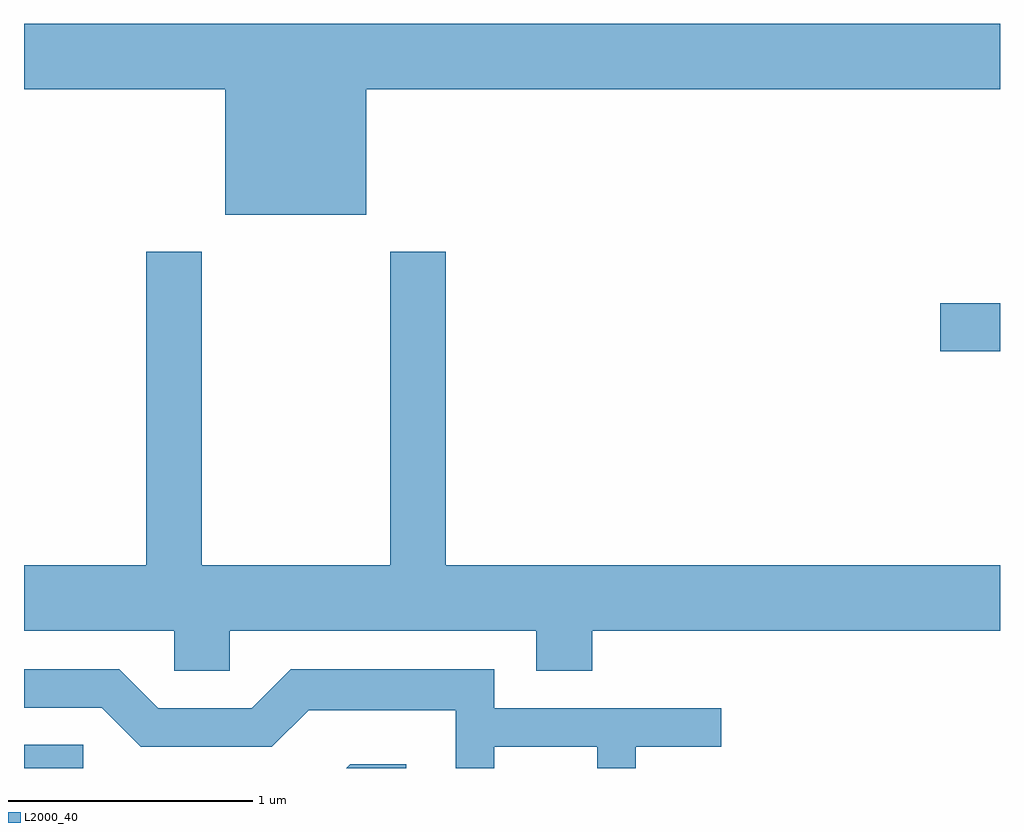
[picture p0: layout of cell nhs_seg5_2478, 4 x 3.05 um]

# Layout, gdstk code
import gdstk
lib = gdstk.Library(unit=1e-6, precision=1e-09)
def R(c, l, rs):  # rectangles x0, y0, x1, y1
    for r in rs: c.add(gdstk.rectangle(r[:2], r[2:], *l))
def P(c, l, *ps):  # polygons
    for p in ps: c.add(gdstk.Polygon(p, *l))
L2000_40 = (2000, 40)

nhs_seg5_2478 = lib.new_cell('nhs_seg5_2478')
R(nhs_seg5_2478, L2000_40, [(259.611,1394.072,259.853,1394.169), (263.366,1395.781,263.611,1395.979)])
P(nhs_seg5_2478, L2000_40, [(261.014,1396.856),(263.611,1396.856),(263.611,1397.124),(259.611,1397.124),(259.611,1396.856),(260.436,1396.856),(260.436,1396.341),(261.014,1396.341)],
  [(260.454,1394.636),(261.711,1394.636),(261.711,1394.471),(261.939,1394.471),(261.939,1394.636),(263.611,1394.636),(263.611,1394.904),(261.339,1394.904),(261.339,1396.189),(261.111,1396.189),(261.111,1394.904),(260.339,1394.904),(260.339,1396.189),(260.111,1396.189),(260.111,1394.904),(259.611,1394.904),(259.611,1394.636),(260.226,1394.636),(260.226,1394.471),(260.454,1394.471)],
  [(261.539,1394.161),(261.961,1394.161),(261.961,1394.072),(262.119,1394.072),(262.119,1394.161),(262.468,1394.161),(262.468,1394.319),(261.539,1394.319),(261.539,1394.479),(260.704,1394.479),(260.544,1394.319),(260.162,1394.319),(260.002,1394.479),(259.611,1394.479),(259.611,1394.321),(259.929,1394.321),(260.089,1394.161),(260.627,1394.161),(260.777,1394.311),(261.381,1394.311),(261.381,1394.072),(261.539,1394.072)],
  [(261.178,1394.089),(260.949,1394.089),(260.932,1394.072),(261.178,1394.072)])

lib.write_gds('nhs_seg5_2478.gds')
